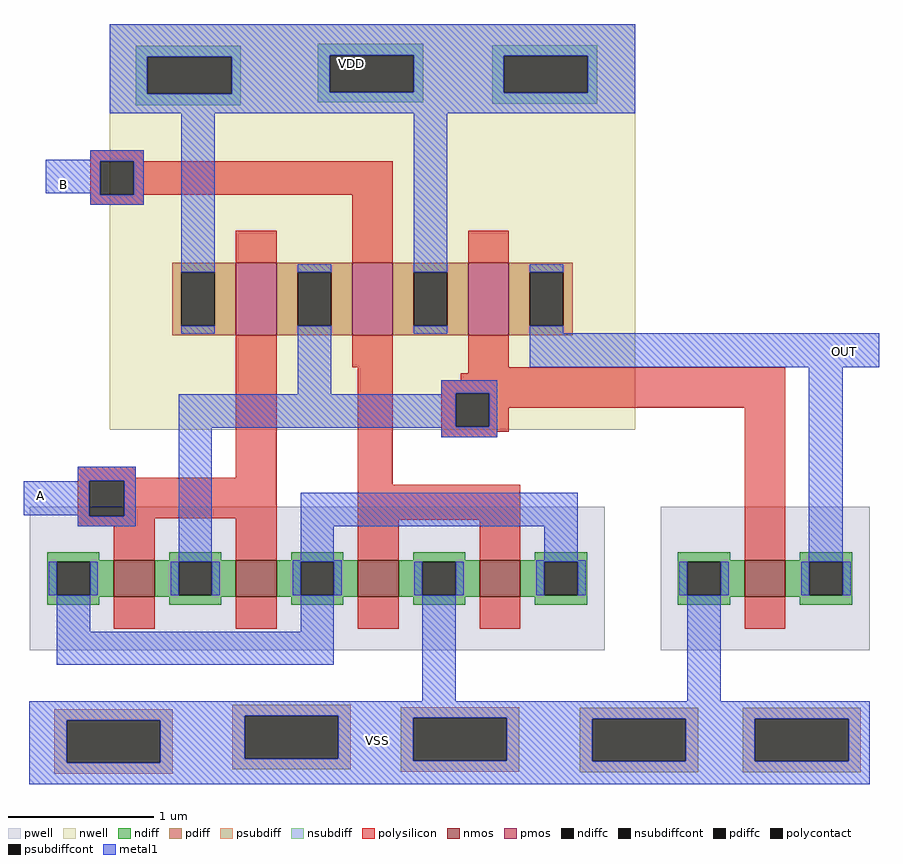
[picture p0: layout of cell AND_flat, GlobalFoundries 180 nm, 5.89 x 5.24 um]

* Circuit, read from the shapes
.subckt AND_flat A B OUT VDD VSS
XM1 n1 A n2 VSS nfet_03v3 w=0.25u l=0.28u m=2
XM2 VSS B n2 VSS nfet_03v3 w=0.25u l=0.28u m=2
XM3 OUT n1 VSS VSS nfet_03v3 w=0.25u l=0.28u
XM4 n1 A VDD VDD pfet_03v3 w=0.5u l=0.28u
XM5 VDD B n1 VDD pfet_03v3 w=0.5u l=0.28u
XM6 OUT n1 VDD VDD pfet_03v3 w=0.5u l=0.28u
.ends

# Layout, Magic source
magic
tech gf180mcuC
magscale 1 10
<< nwell >>
rect 114 386 838 945
<< pwell >>
rect 4 82 796 280
rect 873 82 1161 280
<< nmos >>
rect 120 156 176 206
rect 288 156 344 206
rect 456 156 512 206
rect 624 156 680 206
rect 989 156 1045 206
<< pmos >>
rect 288 516 344 616
rect 448 516 504 616
rect 608 516 664 616
<< ndiff >>
rect 28 206 100 217
rect 196 206 268 217
rect 364 206 436 217
rect 532 206 604 217
rect 700 206 772 217
rect 28 204 120 206
rect 28 158 41 204
rect 87 158 120 204
rect 28 156 120 158
rect 176 204 288 206
rect 176 158 209 204
rect 255 158 288 204
rect 176 156 288 158
rect 344 204 456 206
rect 344 158 377 204
rect 423 158 456 204
rect 344 156 456 158
rect 512 204 624 206
rect 512 158 545 204
rect 591 158 624 204
rect 512 156 624 158
rect 680 204 772 206
rect 680 158 713 204
rect 759 158 772 204
rect 680 156 772 158
rect 28 145 100 156
rect 196 145 268 156
rect 364 145 436 156
rect 532 145 604 156
rect 700 145 772 156
rect 897 206 969 217
rect 1065 206 1137 217
rect 897 204 989 206
rect 897 158 910 204
rect 956 158 989 204
rect 897 156 989 158
rect 1045 204 1137 206
rect 1045 158 1078 204
rect 1124 158 1137 204
rect 1045 156 1137 158
rect 897 145 969 156
rect 1065 145 1137 156
<< pdiff >>
rect 200 603 288 616
rect 200 529 213 603
rect 259 529 288 603
rect 200 516 288 529
rect 344 603 448 616
rect 344 529 373 603
rect 419 529 448 603
rect 344 516 448 529
rect 504 603 608 616
rect 504 529 533 603
rect 579 529 608 603
rect 504 516 608 529
rect 664 603 752 616
rect 664 529 693 603
rect 739 529 752 603
rect 664 516 752 529
<< ndiffc >>
rect 41 158 87 204
rect 209 158 255 204
rect 377 158 423 204
rect 545 158 591 204
rect 713 158 759 204
rect 910 158 956 204
rect 1078 158 1124 204
<< pdiffc >>
rect 213 529 259 603
rect 373 529 419 603
rect 533 529 579 603
rect 693 529 739 603
<< psubdiff >>
rect 38 -14 201 1
rect 38 -73 55 -14
rect 184 -73 201 -14
rect 38 -88 201 -73
rect 283 -8 446 7
rect 283 -67 300 -8
rect 429 -67 446 -8
rect 283 -82 446 -67
rect 515 -11 678 4
rect 515 -70 532 -11
rect 661 -70 678 -11
rect 515 -85 678 -70
rect 762 -12 925 3
rect 762 -71 779 -12
rect 908 -71 925 -12
rect 762 -86 925 -71
rect 986 -12 1149 3
rect 986 -71 1003 -12
rect 1132 -71 1149 -12
rect 986 -86 1149 -71
<< nsubdiff >>
rect 150 900 295 915
rect 150 849 166 900
rect 282 849 295 900
rect 150 833 295 849
rect 401 902 546 918
rect 401 851 417 902
rect 533 851 546 902
rect 401 837 546 851
rect 641 901 786 916
rect 641 850 657 901
rect 773 850 786 901
rect 641 835 786 850
<< psubdiffcont >>
rect 55 -73 184 -14
rect 300 -67 429 -8
rect 532 -70 661 -11
rect 779 -71 908 -12
rect 1003 -71 1132 -12
<< nsubdiffcont >>
rect 166 849 282 900
rect 417 851 533 902
rect 657 850 773 901
<< polysilicon >>
rect 87 756 161 771
rect 87 710 101 756
rect 147 710 504 756
rect 87 696 161 710
rect 288 616 344 660
rect 448 616 504 710
rect 608 616 664 660
rect 70 320 150 335
rect 288 320 344 516
rect 448 472 504 516
rect 70 316 344 320
rect 70 267 86 316
rect 134 267 344 316
rect 70 264 344 267
rect 70 253 176 264
rect 120 206 176 253
rect 288 206 344 264
rect 456 310 504 472
rect 608 472 664 516
rect 608 464 1045 472
rect 598 454 1045 464
rect 571 436 1045 454
rect 571 390 591 436
rect 637 416 1045 436
rect 637 390 664 416
rect 571 383 664 390
rect 571 376 648 383
rect 456 262 680 310
rect 456 206 512 262
rect 624 206 680 262
rect 120 112 176 156
rect 288 112 344 156
rect 456 112 512 156
rect 624 112 680 156
rect 989 206 1045 416
rect 989 112 1045 156
<< polycontact >>
rect 101 710 147 756
rect 86 267 134 316
rect 591 390 637 436
<< metal1 >>
rect 114 902 838 945
rect 114 900 417 902
rect 114 849 166 900
rect 282 851 417 900
rect 533 901 838 902
rect 533 851 657 901
rect 282 850 657 851
rect 773 850 838 901
rect 282 849 838 850
rect 114 822 838 849
rect 87 758 161 771
rect 26 756 161 758
rect 26 712 101 756
rect 87 710 101 712
rect 147 710 161 756
rect 87 696 161 710
rect 213 603 259 822
rect 213 518 259 529
rect 373 603 419 614
rect 373 435 419 529
rect 533 603 579 822
rect 533 518 579 529
rect 693 603 739 614
rect 693 519 739 529
rect 693 472 1174 519
rect 571 436 648 454
rect 571 435 591 436
rect 209 390 591 435
rect 637 390 648 436
rect 209 389 648 390
rect 70 316 150 335
rect 70 315 86 316
rect -4 268 86 315
rect 70 267 86 268
rect 134 267 150 316
rect 70 253 150 267
rect 209 204 255 389
rect 571 376 648 389
rect 377 253 759 299
rect 377 206 423 253
rect 713 206 759 253
rect 366 204 434 206
rect 702 204 770 206
rect 1077 204 1124 472
rect 30 158 41 204
rect 87 158 98 204
rect 198 158 209 204
rect 255 158 266 204
rect 366 158 377 204
rect 423 158 434 204
rect 534 158 545 204
rect 591 158 602 204
rect 702 158 713 204
rect 759 158 770 204
rect 899 158 910 204
rect 956 158 967 204
rect 1067 158 1078 204
rect 1124 158 1135 204
rect 41 108 87 158
rect 377 108 423 158
rect 41 62 423 108
rect 545 12 591 158
rect 910 12 956 158
rect 3 -8 1161 12
rect 3 -14 300 -8
rect 3 -73 55 -14
rect 184 -67 300 -14
rect 429 -11 1161 -8
rect 429 -67 532 -11
rect 184 -70 532 -67
rect 661 -12 1161 -11
rect 661 -70 779 -12
rect 184 -71 779 -70
rect 908 -71 1003 -12
rect 1132 -71 1161 -12
rect 184 -73 1161 -71
rect 3 -102 1161 -73
<< labels >>
flabel metal1 19 296 19 296 0 FreeSans 800 0 0 0 A
port 1 nsew
flabel metal1 50 724 50 724 0 FreeSans 800 0 0 0 B
port 3 nsew
flabel metal1 1126 494 1126 494 0 FreeSans 320 0 0 0 OUT
port 9 nsew
flabel nsubdiffcont 447 891 447 891 0 FreeSans 320 0 0 0 VDD
port 10 nsew
flabel metal1 483 -42 483 -42 0 FreeSans 320 0 0 0 VSS
port 11 nsew
<< end >>
